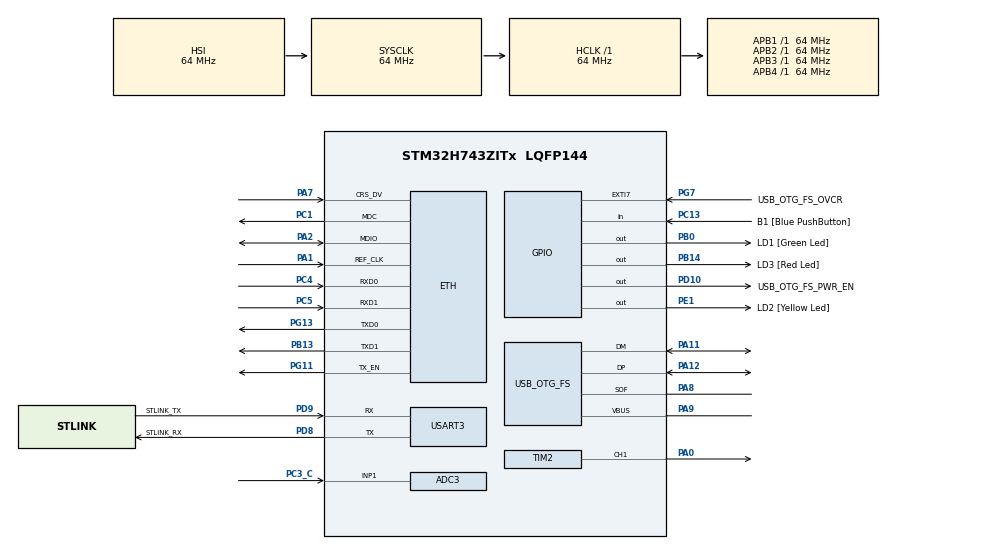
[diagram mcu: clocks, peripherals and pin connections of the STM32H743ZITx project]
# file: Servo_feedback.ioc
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ADC3.Channel-0\#ChannelRegularConversion=ADC_CHANNEL_1
ADC3.ContinuousConvMode=ENABLE
ADC3.NbrOfConversionFlag=1
ADC3.OffsetNumber-0\#ChannelRegularConversion=ADC_OFFSET_NONE
ADC3.OffsetSignedSaturation-0\#ChannelRegularConversion=DISABLE
ADC3.Rank-0\#ChannelRegularConversion=1
ADC3.SamplingTime-0\#ChannelRegularConversion=ADC_SAMPLETIME_64CYCLES_5
ETH.MediaInterface=HAL_ETH_RMII_MODE
Mcu.Family=STM32H7
Mcu.Name=STM32H743ZITx
Mcu.Package=LQFP144
NVIC.ADC3_IRQn=true\:0\:0\:false\:false\:true\:true\:true\:true
NVIC.PriorityGroup=NVIC_PRIORITYGROUP_4
PA0.Signal=S_TIM2_CH1_ETR
PA1.Mode=RMII
PA1.Signal=ETH_REF_CLK
PA11.Mode=Device_Only
PA11.Signal=USB_OTG_FS_DM
PA12.Mode=Device_Only
PA12.Signal=USB_OTG_FS_DP
PA2.Mode=RMII
PA2.Signal=ETH_MDIO
PA7.Mode=RMII
PA7.Signal=ETH_CRS_DV
PA8.Mode=Activate_SOF_FS
PA8.Signal=USB_OTG_FS_SOF
PA9.Mode=Activate_VBUS
PA9.Signal=USB_OTG_FS_VBUS
PB0.GPIO_Label=LD1 [Green Led]
PB0.Signal=GPIO_Output
PB13.Mode=RMII
PB13.Signal=ETH_TXD1
PB14.GPIO_Label=LD3 [Red Led]
PB14.Signal=GPIO_Output
PC1.Mode=RMII
PC1.Signal=ETH_MDC
PC13.GPIO_Label=B1 [Blue PushButton]
PC13.Signal=GPIO_Input
PC14-OSC32_IN\ (OSC32_IN).Mode=LSE-External-Oscillator
PC14-OSC32_IN\ (OSC32_IN).Signal=RCC_OSC32_IN
PC15-OSC32_OUT\ (OSC32_OUT).Mode=LSE-External-Oscillator
PC15-OSC32_OUT\ (OSC32_OUT).Signal=RCC_OSC32_OUT
PC3_C.Mode=IN1-Single-Ended
PC3_C.Signal=ADC3_INP1
PC4.Mode=RMII
PC4.Signal=ETH_RXD0
PC5.Mode=RMII
PC5.Signal=ETH_RXD1
PD10.GPIO_Label=USB_OTG_FS_PWR_EN
PD10.Signal=GPIO_Output
PD8.GPIO_Label=STLINK_RX
PD8.Mode=Asynchronous
PD8.Signal=USART3_TX
PD9.GPIO_Label=STLINK_TX
PD9.Mode=Asynchronous
PD9.Signal=USART3_RX
PE1.GPIO_Label=LD2 [Yellow Led]
PE1.Signal=GPIO_Output
PG11.Mode=RMII
PG11.Signal=ETH_TX_EN
PG13.Mode=RMII
PG13.Signal=ETH_TXD0
PG7.GPIO_Label=USB_OTG_FS_OVCR
PG7.Signal=GPXTI7
PH0-OSC_IN\ (PH0).Mode=HSE-External-Clock-Source
PH0-OSC_IN\ (PH0).Signal=RCC_OSC_IN
PH1-OSC_OUT\ (PH1).Signal=RCC_OSC_OUT
ProjectManager.HeapSize=0x200
ProjectManager.StackSize=0x400
ProjectManager.TargetToolchain=STM32CubeIDE
RCC.ADCFreq_Value=76000000
RCC.APB1Freq_Value=64000000
RCC.APB2Freq_Value=64000000
RCC.APB3Freq_Value=64000000
RCC.APB4Freq_Value=64000000
RCC.CortexFreq_Value=64000000
RCC.DIVM1=1
RCC.DIVM2=1
RCC.DIVN1=19
RCC.DIVN2=19
RCC.DIVQ1=3
RCC.HCLKFreq_Value=64000000
RCC.HSE_VALUE=8000000
RCC.PLL2FRACN=0
RCC.PLLFRACN=0
RCC.PWR_Regulator_Voltage_Scale=PWR_REGULATOR_VOLTAGE_SCALE2
RCC.SYSCLKFreq_VALUE=64000000
RCC.USBFreq_Value=50666666.666666664
SH.S_TIM2_CH1_ETR.0=TIM2_CH1,PWM Generation1 CH1
TIM2.AutoReloadPreload=TIM_AUTORELOAD_PRELOAD_ENABLE
TIM2.Channel-PWM\ Generation1\ CH1=TIM_CHANNEL_1
TIM2.Period=116480
TIM2.Prescaler=10
TIM2.Pulse-PWM\ Generation1\ CH1=25
USART3.VirtualMode-Asynchronous=VM_ASYNC
USB_OTG_FS.VirtualMode=Device_Only
VP_MEMORYMAP_VS_MEMORYMAP.Mode=CurAppReg
VP_TIM2_VS_ClockSourceINT.Mode=Internal
board=NUCLEO-H743ZI2

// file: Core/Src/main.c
/* USER CODE BEGIN Header */
/**
  ******************************************************************************
  * @file           : main.c
  * @brief          : Main program body
  ******************************************************************************
  * @attention
  *
  * Copyright (c) 2024 STMicroelectronics.
  * All rights reserved.
  *
  * This software is licensed under terms that can be found in the LICENSE file
  * in the root directory of this software component.
  * If no LICENSE file comes with this software, it is provided AS-IS.
  *
  ******************************************************************************
  */
/* USER CODE END Header */
#include "main.h"
#include "string.h"

/* USER CODE BEGIN PD */

uint16_t adc_value;
int adc_avg[10];
uint32_t adc_avg_1;
uint32_t adc_avg_2;

int adc_avg_val;
double adc_cal;
double Test = 0;
double V_cal = 0.000050354;

float servo_set = 0.0;
int servo_process = 0.0;
float servo_error = 0.0;

uint16_t servo_signal = 5824;

/* USER CODE END PD */

#if defined ( __ICCARM__ ) /*!< IAR Compiler */
#pragma location=0x30000000
ETH_DMADescTypeDef  DMARxDscrTab[ETH_RX_DESC_CNT]; /* Ethernet Rx DMA Descriptors */
#pragma location=0x30000080
ETH_DMADescTypeDef  DMATxDscrTab[ETH_TX_DESC_CNT]; /* Ethernet Tx DMA Descriptors */

#elif defined ( __CC_ARM )  /* MDK ARM Compiler */

__attribute__((at(0x30000000))) ETH_DMADescTypeDef  DMARxDscrTab[ETH_RX_DESC_CNT]; /* Ethernet Rx DMA Descriptors */
__attribute__((at(0x30000080))) ETH_DMADescTypeDef  DMATxDscrTab[ETH_TX_DESC_CNT]; /* Ethernet Tx DMA Descriptors */

#elif defined ( __GNUC__ ) /* GNU Compiler */

ETH_DMADescTypeDef DMARxDscrTab[ETH_RX_DESC_CNT] __attribute__((section(".RxDecripSection"))); /* Ethernet Rx DMA Descriptors */
ETH_DMADescTypeDef DMATxDscrTab[ETH_TX_DESC_CNT] __attribute__((section(".TxDecripSection")));   /* Ethernet Tx DMA Descriptors */
#endif

ETH_TxPacketConfig TxConfig;

ADC_HandleTypeDef hadc3;

ETH_HandleTypeDef heth;

TIM_HandleTypeDef htim2;

UART_HandleTypeDef huart3;

PCD_HandleTypeDef hpcd_USB_OTG_FS;

void SystemClock_Config(void);
static void MX_GPIO_Init(void);
static void MX_ETH_Init(void);
static void MX_USART3_UART_Init(void);
static void MX_USB_OTG_FS_PCD_Init(void);
static void MX_TIM2_Init(void);
static void MX_ADC3_Init(void);

/* USER CODE BEGIN 0 */
float PID_controller_1(float set_value, float process_value, float Kp, float Ki, float Kd, float limit_1, float limit_2)
{
	float error;
	static float error_old;
	float P_value;
	float I_value;
	float D_value;
	static float I_sum;
	float PID_value;
	float Time = 0.1;

	error = (set_value - process_value);
	P_value = Kp * error;
	if (Ki > 0)
	{
		if(((Time * error) > 0 && Ki * I_sum <= limit_1) || ((Time * error) < 0 && Ki * Ki * I_sum >= limit_2) || (Ki * I_sum >= limit_1 && Ki * I_sum <= limit_2))
		{
			I_value = I_sum += Time * error;
		}
	}
	else
	{
		I_value = 0;
		I_sum = 0;
	}
	if(Kd > 0)
	{
		if((error - error_old)/ Time < limit_2 && (error - error_old)/ Time > limit_1)
		{
			D_value = (error - error_old) / Time;
		}
	}
	else
	{
		D_value = 0;
	}
	PID_value = P_value + Ki * I_value + Kd * D_value;
	if (PID_value < limit_1)
	{
		PID_value = limit_1;
	}
	else if (PID_value > limit_2)
	{
		PID_value = limit_2;
	}
	error_old = error;
	return PID_value;
}
/* USER CODE END 0 */

int main(void)
{

  /* MCU Configuration--------------------------------------------------------*/

  /* Reset of all peripherals, Initializes the Flash interface and the Systick. */
  HAL_Init();

  /* Configure the system clock */
  SystemClock_Config();

  /* Initialize all configured peripherals */
  MX_GPIO_Init();
  MX_ETH_Init();
  MX_USART3_UART_Init();
  MX_USB_OTG_FS_PCD_Init();
  MX_TIM2_Init();
  MX_ADC3_Init();
  /* USER CODE BEGIN 2 */
  TIM2->CCR1 = 8736; //11648 = 2ms, 5824 = 1ms, 8736 = 1.5ms
  HAL_TIM_PWM_Start(&htim2, TIM_CHANNEL_1);

  HAL_ADC_Start_IT(&hadc3);

  TIM2->CCR1 = 5824; // turn to 0 deg.
  HAL_Delay(2000);
  for(int a = 0; a < 10; a++)
  {
	  adc_avg_1 += adc_value;
  }
  adc_avg_1 = adc_avg_1 / 10; //calibration value for 0 deg.

  TIM2->CCR1 = 11648; // turn to 180 deg.
  HAL_Delay(2000);
  for(int a = 0; a < 10; a++)
  {
	  adc_avg_2 += adc_value;
  }
  adc_avg_2 = adc_avg_2 / 10; //calibration value for 180 deg.

  adc_cal = 180.0 / (adc_avg_2 - adc_avg_1); //calculate the ADC calibration value from 0 to 180 deg.
  /* USER CODE END 2 */

  /* Infinite loop */
  /* USER CODE BEGIN WHILE */
  while (1)
  {
	  servo_process = (int)((adc_value - adc_avg_1) * adc_cal); // convert the ADC to deg.

	  if(servo_process > 1000)
	  {
		  servo_process = 0;
	  }

	  // filtering the process value
	  for(int a = 9; a > 0; a--)
	  {
		  adc_avg[a] = adc_avg[a-1];
	  }
	  adc_avg[0] = servo_process;

	  adc_avg_val = 0;
	  for(int b = 0; b < 10; b++)
	  {
		  adc_avg_val += adc_avg[b];
	  }

	  adc_avg_val = adc_avg_val / 10;

	  // converting the PID output to a servo signal for the PWM
	  servo_signal = (int)(PID_controller_1((float)servo_set, (float)adc_avg_val, 1, 1, 0.02, 0, 180) * 32.35556 + 5824);

	  //PWM
	  TIM2->CCR1 = servo_signal;
	  HAL_Delay(100);

    /* USER CODE END WHILE */

  }
}

void SystemClock_Config(void)
{
  RCC_OscInitTypeDef RCC_OscInitStruct = {0};
  RCC_ClkInitTypeDef RCC_ClkInitStruct = {0};

  /** Supply configuration update enable
  */
  HAL_PWREx_ConfigSupply(PWR_LDO_SUPPLY);

  /** Configure the main internal regulator output voltage
  */
  __HAL_PWR_VOLTAGESCALING_CONFIG(PWR_REGULATOR_VOLTAGE_SCALE2);

  while(!__HAL_PWR_GET_FLAG(PWR_FLAG_VOSRDY)) {}

  /** Initializes the RCC Oscillators according to the specified parameters
  * in the RCC_OscInitTypeDef structure.
  */
  RCC_OscInitStruct.OscillatorType = RCC_OSCILLATORTYPE_HSI|RCC_OSCILLATORTYPE_HSE;
  RCC_OscInitStruct.HSEState = RCC_HSE_BYPASS;
  RCC_OscInitStruct.HSIState = RCC_HSI_DIV1;
  RCC_OscInitStruct.HSICalibrationValue = RCC_HSICALIBRATION_DEFAULT;
  RCC_OscInitStruct.PLL.PLLState = RCC_PLL_ON;
  RCC_OscInitStruct.PLL.PLLSource = RCC_PLLSOURCE_HSE;
  RCC_OscInitStruct.PLL.PLLM = 1;
  RCC_OscInitStruct.PLL.PLLN = 19;
  RCC_OscInitStruct.PLL.PLLP = 2;
  RCC_OscInitStruct.PLL.PLLQ = 3;
  RCC_OscInitStruct.PLL.PLLR = 2;
  RCC_OscInitStruct.PLL.PLLRGE = RCC_PLL1VCIRANGE_3;
  RCC_OscInitStruct.PLL.PLLVCOSEL = RCC_PLL1VCOMEDIUM;
  RCC_OscInitStruct.PLL.PLLFRACN = 0;
  if (HAL_RCC_OscConfig(&RCC_OscInitStruct) != HAL_OK)
  {
    Error_Handler();
  }

  /** Initializes the CPU, AHB and APB buses clocks
  */
  RCC_ClkInitStruct.ClockType = RCC_CLOCKTYPE_HCLK|RCC_CLOCKTYPE_SYSCLK
                              |RCC_CLOCKTYPE_PCLK1|RCC_CLOCKTYPE_PCLK2
                              |RCC_CLOCKTYPE_D3PCLK1|RCC_CLOCKTYPE_D1PCLK1;
  RCC_ClkInitStruct.SYSCLKSource = RCC_SYSCLKSOURCE_HSI;
  RCC_ClkInitStruct.SYSCLKDivider = RCC_SYSCLK_DIV1;
  RCC_ClkInitStruct.AHBCLKDivider = RCC_HCLK_DIV1;
  RCC_ClkInitStruct.APB3CLKDivider = RCC_APB3_DIV1;
  RCC_ClkInitStruct.APB1CLKDivider = RCC_APB1_DIV1;
  RCC_ClkInitStruct.APB2CLKDivider = RCC_APB2_DIV1;
  RCC_ClkInitStruct.APB4CLKDivider = RCC_APB4_DIV1;

  if (HAL_RCC_ClockConfig(&RCC_ClkInitStruct, FLASH_LATENCY_1) != HAL_OK)
  {
    Error_Handler();
  }
}

static void MX_ADC3_Init(void)
{

  ADC_ChannelConfTypeDef sConfig = {0};

  /** Common config
  */
  hadc3.Instance = ADC3;
  hadc3.Init.ClockPrescaler = ADC_CLOCK_ASYNC_DIV1;
  hadc3.Init.ScanConvMode = ADC_SCAN_DISABLE;
  hadc3.Init.EOCSelection = ADC_EOC_SINGLE_CONV;
  hadc3.Init.LowPowerAutoWait = DISABLE;
  hadc3.Init.ContinuousConvMode = ENABLE;
  hadc3.Init.NbrOfConversion = 1;
  hadc3.Init.DiscontinuousConvMode = DISABLE;
  hadc3.Init.ExternalTrigConv = ADC_SOFTWARE_START;
  hadc3.Init.ExternalTrigConvEdge = ADC_EXTERNALTRIGCONVEDGE_NONE;
  hadc3.Init.ConversionDataManagement = ADC_CONVERSIONDATA_DR;
  hadc3.Init.Overrun = ADC_OVR_DATA_PRESERVED;
  hadc3.Init.LeftBitShift = ADC_LEFTBITSHIFT_NONE;
  hadc3.Init.OversamplingMode = DISABLE;
  hadc3.Init.Oversampling.Ratio = 1;
  if (HAL_ADC_Init(&hadc3) != HAL_OK)
  {
    Error_Handler();
  }
  hadc3.Init.Resolution = ADC_RESOLUTION_16B;
  if (HAL_ADC_Init(&hadc3) != HAL_OK)
  {
    Error_Handler();
  }

  /** Configure Regular Channel
  */
  sConfig.Channel = ADC_CHANNEL_1;
  sConfig.Rank = ADC_REGULAR_RANK_1;
  sConfig.SamplingTime = ADC_SAMPLETIME_64CYCLES_5;
  sConfig.SingleDiff = ADC_SINGLE_ENDED;
  sConfig.OffsetNumber = ADC_OFFSET_NONE;
  sConfig.Offset = 0;
  sConfig.OffsetSignedSaturation = DISABLE;
  if (HAL_ADC_ConfigChannel(&hadc3, &sConfig) != HAL_OK)
  {
    Error_Handler();
  }

}

static void MX_ETH_Init(void)
{

   static uint8_t MACAddr[6];

  heth.Instance = ETH;
  MACAddr[0] = 0x00;
  MACAddr[1] = 0x80;
  MACAddr[2] = 0xE1;
  MACAddr[3] = 0x00;
  MACAddr[4] = 0x00;
  MACAddr[5] = 0x00;
  heth.Init.MACAddr = &MACAddr[0];
  heth.Init.MediaInterface = HAL_ETH_RMII_MODE;
  heth.Init.TxDesc = DMATxDscrTab;
  heth.Init.RxDesc = DMARxDscrTab;
  heth.Init.RxBuffLen = 1524;

  if (HAL_ETH_Init(&heth) != HAL_OK)
  {
    Error_Handler();
  }

  memset(&TxConfig, 0 , sizeof(ETH_TxPacketConfig));
  TxConfig.Attributes = ETH_TX_PACKETS_FEATURES_CSUM | ETH_TX_PACKETS_FEATURES_CRCPAD;
  TxConfig.ChecksumCtrl = ETH_CHECKSUM_IPHDR_PAYLOAD_INSERT_PHDR_CALC;
  TxConfig.CRCPadCtrl = ETH_CRC_PAD_INSERT;

}

static void MX_TIM2_Init(void)
{

  TIM_ClockConfigTypeDef sClockSourceConfig = {0};
  TIM_MasterConfigTypeDef sMasterConfig = {0};
  TIM_OC_InitTypeDef sConfigOC = {0};

  htim2.Instance = TIM2;
  htim2.Init.Prescaler = 10;
  htim2.Init.CounterMode = TIM_COUNTERMODE_UP;
  htim2.Init.Period = 116480;
  htim2.Init.ClockDivision = TIM_CLOCKDIVISION_DIV1;
  htim2.Init.AutoReloadPreload = TIM_AUTORELOAD_PRELOAD_ENABLE;
  if (HAL_TIM_Base_Init(&htim2) != HAL_OK)
  {
    Error_Handler();
  }
  sClockSourceConfig.ClockSource = TIM_CLOCKSOURCE_INTERNAL;
  if (HAL_TIM_ConfigClockSource(&htim2, &sClockSourceConfig) != HAL_OK)
  {
    Error_Handler();
  }
  if (HAL_TIM_PWM_Init(&htim2) != HAL_OK)
  {
    Error_Handler();
  }
  sMasterConfig.MasterOutputTrigger = TIM_TRGO_RESET;
  sMasterConfig.MasterSlaveMode = TIM_MASTERSLAVEMODE_DISABLE;
  if (HAL_TIMEx_MasterConfigSynchronization(&htim2, &sMasterConfig) != HAL_OK)
  {
    Error_Handler();
  }
  sConfigOC.OCMode = TIM_OCMODE_PWM1;
  sConfigOC.Pulse = 25;
  sConfigOC.OCPolarity = TIM_OCPOLARITY_HIGH;
  sConfigOC.OCFastMode = TIM_OCFAST_DISABLE;
  if (HAL_TIM_PWM_ConfigChannel(&htim2, &sConfigOC, TIM_CHANNEL_1) != HAL_OK)
  {
    Error_Handler();
  }
  HAL_TIM_MspPostInit(&htim2);

}

static void MX_USART3_UART_Init(void)
{

  huart3.Instance = USART3;
  huart3.Init.BaudRate = 115200;
  huart3.Init.WordLength = UART_WORDLENGTH_8B;
  huart3.Init.StopBits = UART_STOPBITS_1;
  huart3.Init.Parity = UART_PARITY_NONE;
  huart3.Init.Mode = UART_MODE_TX_RX;
  huart3.Init.HwFlowCtl = UART_HWCONTROL_NONE;
  huart3.Init.OverSampling = UART_OVERSAMPLING_16;
  huart3.Init.OneBitSampling = UART_ONE_BIT_SAMPLE_DISABLE;
  huart3.Init.ClockPrescaler = UART_PRESCALER_DIV1;
  huart3.AdvancedInit.AdvFeatureInit = UART_ADVFEATURE_NO_INIT;
  if (HAL_UART_Init(&huart3) != HAL_OK)
  {
    Error_Handler();
  }
  if (HAL_UARTEx_SetTxFifoThreshold(&huart3, UART_TXFIFO_THRESHOLD_1_8) != HAL_OK)
  {
    Error_Handler();
  }
  if (HAL_UARTEx_SetRxFifoThreshold(&huart3, UART_RXFIFO_THRESHOLD_1_8) != HAL_OK)
  {
    Error_Handler();
  }
  if (HAL_UARTEx_DisableFifoMode(&huart3) != HAL_OK)
  {
    Error_Handler();
  }

}

static void MX_USB_OTG_FS_PCD_Init(void)
{

  hpcd_USB_OTG_FS.Instance = USB_OTG_FS;
  hpcd_USB_OTG_FS.Init.dev_endpoints = 9;
  hpcd_USB_OTG_FS.Init.speed = PCD_SPEED_FULL;
  hpcd_USB_OTG_FS.Init.dma_enable = DISABLE;
  hpcd_USB_OTG_FS.Init.phy_itface = PCD_PHY_EMBEDDED;
  hpcd_USB_OTG_FS.Init.Sof_enable = ENABLE;
  hpcd_USB_OTG_FS.Init.low_power_enable = DISABLE;
  hpcd_USB_OTG_FS.Init.lpm_enable = DISABLE;
  hpcd_USB_OTG_FS.Init.battery_charging_enable = ENABLE;
  hpcd_USB_OTG_FS.Init.vbus_sensing_enable = ENABLE;
  hpcd_USB_OTG_FS.Init.use_dedicated_ep1 = DISABLE;
  if (HAL_PCD_Init(&hpcd_USB_OTG_FS) != HAL_OK)
  {
    Error_Handler();
  }

}

static void MX_GPIO_Init(void)
{
  GPIO_InitTypeDef GPIO_InitStruct = {0};

  /* GPIO Ports Clock Enable */
  __HAL_RCC_GPIOC_CLK_ENABLE();
  __HAL_RCC_GPIOH_CLK_ENABLE();
  __HAL_RCC_GPIOA_CLK_ENABLE();
  __HAL_RCC_GPIOB_CLK_ENABLE();
  __HAL_RCC_GPIOD_CLK_ENABLE();
  __HAL_RCC_GPIOG_CLK_ENABLE();
  __HAL_RCC_GPIOE_CLK_ENABLE();

  /*Configure GPIO pin Output Level */
  HAL_GPIO_WritePin(GPIOB, LD1_Pin|LD3_Pin, GPIO_PIN_RESET);

  /*Configure GPIO pin Output Level */
  HAL_GPIO_WritePin(USB_OTG_FS_PWR_EN_GPIO_Port, USB_OTG_FS_PWR_EN_Pin, GPIO_PIN_RESET);

  /*Configure GPIO pin Output Level */
  HAL_GPIO_WritePin(LD2_GPIO_Port, LD2_Pin, GPIO_PIN_RESET);

  /*Configure GPIO pin : B1_Pin */
  GPIO_InitStruct.Pin = B1_Pin;
  GPIO_InitStruct.Mode = GPIO_MODE_INPUT;
  GPIO_InitStruct.Pull = GPIO_NOPULL;
  HAL_GPIO_Init(B1_GPIO_Port, &GPIO_InitStruct);

  /*Configure GPIO pins : LD1_Pin LD3_Pin */
  GPIO_InitStruct.Pin = LD1_Pin|LD3_Pin;
  GPIO_InitStruct.Mode = GPIO_MODE_OUTPUT_PP;
  GPIO_InitStruct.Pull = GPIO_NOPULL;
  GPIO_InitStruct.Speed = GPIO_SPEED_FREQ_LOW;
  HAL_GPIO_Init(GPIOB, &GPIO_InitStruct);

  /*Configure GPIO pin : USB_OTG_FS_PWR_EN_Pin */
  GPIO_InitStruct.Pin = USB_OTG_FS_PWR_EN_Pin;
  GPIO_InitStruct.Mode = GPIO_MODE_OUTPUT_PP;
  GPIO_InitStruct.Pull = GPIO_NOPULL;
  GPIO_InitStruct.Speed = GPIO_SPEED_FREQ_LOW;
  HAL_GPIO_Init(USB_OTG_FS_PWR_EN_GPIO_Port, &GPIO_InitStruct);

  /*Configure GPIO pin : USB_OTG_FS_OVCR_Pin */
  GPIO_InitStruct.Pin = USB_OTG_FS_OVCR_Pin;
  GPIO_InitStruct.Mode = GPIO_MODE_IT_RISING;
  GPIO_InitStruct.Pull = GPIO_NOPULL;
  HAL_GPIO_Init(USB_OTG_FS_OVCR_GPIO_Port, &GPIO_InitStruct);

  /*Configure GPIO pin : LD2_Pin */
  GPIO_InitStruct.Pin = LD2_Pin;
  GPIO_InitStruct.Mode = GPIO_MODE_OUTPUT_PP;
  GPIO_InitStruct.Pull = GPIO_NOPULL;
  GPIO_InitStruct.Speed = GPIO_SPEED_FREQ_LOW;
  HAL_GPIO_Init(LD2_GPIO_Port, &GPIO_InitStruct);

}

/* USER CODE BEGIN 4 */

void HAL_ADC_ConvCpltCallback(ADC_HandleTypeDef *hadc)
{
	if(HAL_ADC_PollForConversion(&hadc3, 10) == HAL_OK)
	{
	  adc_value = HAL_ADC_GetValue(&hadc3);
	}
}

/* USER CODE END 4 */

void Error_Handler(void)
{
  __disable_irq();
  while (1)
  {
  }
}
